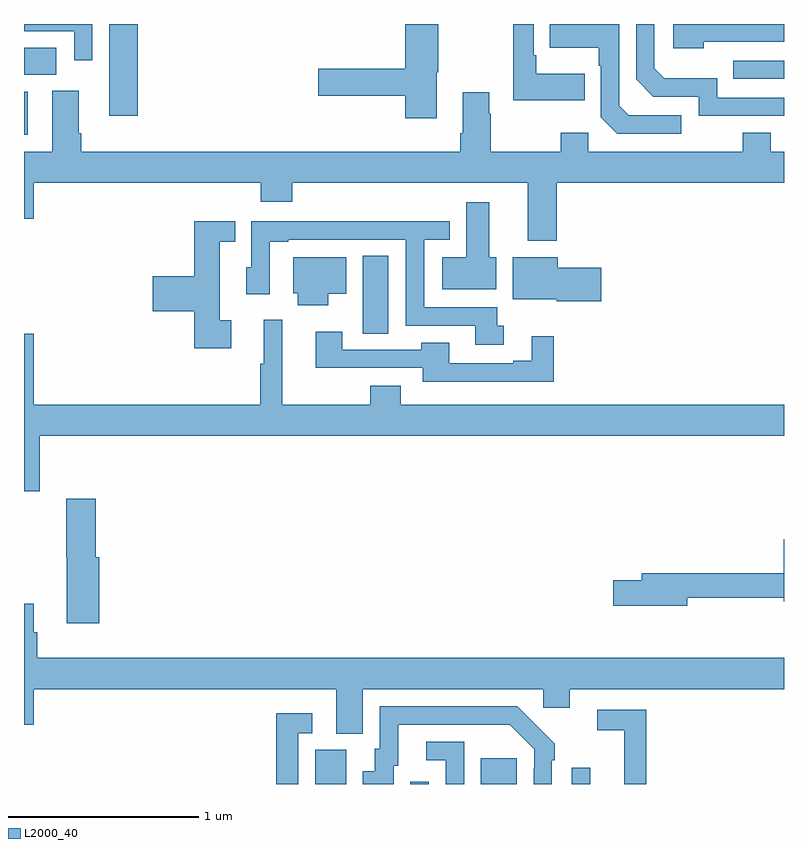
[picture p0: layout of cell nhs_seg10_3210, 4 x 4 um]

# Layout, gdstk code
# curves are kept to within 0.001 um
import gdstk
lib = gdstk.Library(unit=1e-6, precision=1e-09)
def R(c, l, rs):  # rectangles x0, y0, x1, y1
    for r in rs: c.add(gdstk.rectangle(r[:2], r[2:], *l))
def P(c, l, *ps):  # polygons
    for p in ps: c.add(gdstk.Polygon(p, *l))
L2000_40 = (2000, 40)

nhs_seg10_3210 = lib.new_cell('nhs_seg10_3210')
R(nhs_seg10_3210, L2000_40, [(286.532,1282.5,286.696,1282.68), (287.034,1282.5,287.13,1282.513), (287.405,1282.5,287.593,1282.636), (287.883,1282.5,287.979,1282.585), (286.784,1284.871,286.918,1285.28), (285,1285.917,285.019,1286.143), (285.449,1286.016,285.599,1286.5), (288.733,1286.211,289,1286.307), (285,1286.234,285.169,1286.374)])
P(nhs_seg10_3210, L2000_40, [(287.951,1286.239),(287.695,1286.239),(287.695,1286.335),(287.682,1286.335),(287.682,1286.5),(287.574,1286.5),(287.574,1286.099),(287.951,1286.099)],
  [(287.173,1286.247),(287.181,1286.247),(287.181,1286.5),(287.006,1286.5),(287.006,1286.264),(286.548,1286.264),(286.548,1286.122),(287.006,1286.122),(287.006,1286.004),(287.173,1286.004)],
  [(288.46,1286.019),(288.183,1286.019),(288.132,1286.07),(288.132,1286.5),(287.767,1286.5),(287.767,1286.375),(288.024,1286.375),(288.024,1286.279),(288.036,1286.279),(288.036,1286.01),(288.123,1285.923),(288.46,1285.923)],
  [(285.36,1286.5),(285,1286.5),(285,1286.462),(285.264,1286.462),(285.264,1286.31),(285.36,1286.31)],
  [(288.578,1286.406),(289,1286.406),(289,1286.5),(288.417,1286.5),(288.417,1286.372),(288.578,1286.372)],
  [(289,1286.112),(288.648,1286.112),(288.648,1286.215),(288.371,1286.215),(288.318,1286.268),(288.318,1286.5),(288.222,1286.5),(288.222,1286.208),(288.312,1286.118),(288.552,1286.118),(288.552,1286.016),(289,1286.016)],
  [(287.804,1285.664),(289,1285.664),(289,1285.828),(288.931,1285.828),(288.931,1285.927),(288.784,1285.927),(288.784,1285.828),(287.97,1285.828),(287.97,1285.927),(287.824,1285.927),(287.824,1285.828),(287.457,1285.828),(287.457,1286.027),(287.449,1286.027),(287.449,1286.14),(287.309,1286.14),(287.309,1285.924),(287.297,1285.924),(287.297,1285.828),(285.302,1285.828),(285.302,1285.924),(285.289,1285.924),(285.289,1286.149),(285.149,1286.149),(285.149,1285.828),(285,1285.828),(285,1285.476),(285.052,1285.476),(285.052,1285.664),(286.247,1285.664),(286.247,1285.565),(286.412,1285.565),(286.412,1285.664),(287.651,1285.664),(287.651,1285.359),(287.804,1285.359)],
  [(287.485,1285.273),(287.449,1285.273),(287.449,1285.561),(287.327,1285.561),(287.327,1285.273),(287.201,1285.273),(287.201,1285.103),(287.485,1285.103)],
  [(287.524,1284.911),(287.492,1284.911),(287.492,1285.008),(287.106,1285.008),(287.106,1285.365),(287.242,1285.365),(287.242,1285.463),(286.495,1285.463),(286.495,1285.461),(286.197,1285.461),(286.197,1285.221),(286.169,1285.221),(286.169,1285.077),(286.293,1285.077),(286.293,1285.353),(286.39,1285.353),(286.39,1285.365),(287.01,1285.365),(287.01,1284.912),(287.375,1284.912),(287.375,1284.813),(287.524,1284.813)],
  [(286.09,1284.942),(286.03,1284.942),(286.03,1285.353),(286.112,1285.353),(286.112,1285.463),(285.896,1285.463),(285.896,1285.172),(285.678,1285.172),(285.678,1284.989),(285.896,1284.989),(285.896,1284.794),(286.09,1284.794)],
  [(286.6,1285.079),(286.696,1285.079),(286.696,1285.273),(286.418,1285.273),(286.418,1285.083),(286.442,1285.083),(286.442,1285.019),(286.6,1285.019)],
  [(288.037,1285.218),(287.809,1285.218),(287.809,1285.273),(287.573,1285.273),(287.573,1285.052),(287.805,1285.052),(287.805,1285.04),(288.037,1285.04)],
  [(285.083,1284.332),(289,1284.332),(289,1284.496),(286.982,1284.496),(286.982,1284.595),(286.822,1284.595),(286.822,1284.496),(286.36,1284.496),(286.36,1284.943),(286.262,1284.943),(286.262,1284.711),(286.243,1284.711),(286.243,1284.496),(285.052,1284.496),(285.052,1284.871),(285,1284.871),(285,1284.042),(285.083,1284.042)],
  [(287.789,1284.856),(287.672,1284.856),(287.672,1284.727),(287.576,1284.727),(287.576,1284.714),(287.239,1284.714),(287.239,1284.823),(287.092,1284.823),(287.092,1284.786),(286.675,1284.786),(286.675,1284.88),(286.535,1284.88),(286.535,1284.69),(287.099,1284.69),(287.099,1284.618),(287.789,1284.618)],
  [(285.395,1283.694),(285.377,1283.694),(285.377,1284.001),(285.223,1284.001),(285.223,1283.694),(285.224,1283.694),(285.224,1283.346),(285.395,1283.346)],
  [(288.49,1283.481),(288.998,1283.481),(288.998,1283.462),(289,1283.462),(289,1283.788),(288.998,1283.788),(288.998,1283.609),(288.251,1283.609),(288.251,1283.573),(288.102,1283.573),(288.102,1283.438),(288.49,1283.438)],
  [(286.783,1283),(287.733,1283),(287.733,1282.902),(287.872,1282.902),(287.872,1283),(289,1283),(289,1283.164),(285.071,1283.164),(285.071,1283.298),(285.052,1283.298),(285.052,1283.449),(285,1283.449),(285,1282.812),(285.052,1282.812),(285.052,1283),(286.643,1283),(286.643,1282.765),(286.783,1282.765)],
  [(286.945,1282.596),(286.969,1282.596),(286.969,1282.812),(287.557,1282.812),(287.685,1282.683),(287.685,1282.583),(287.682,1282.583),(287.682,1282.5),(287.778,1282.5),(287.778,1282.625),(287.793,1282.625),(287.793,1282.713),(287.596,1282.908),(286.872,1282.908),(286.872,1282.686),(286.847,1282.686),(286.847,1282.567),(286.784,1282.567),(286.784,1282.5),(286.945,1282.5)],
  [(288.275,1282.89),(288.018,1282.89),(288.018,1282.782),(288.158,1282.782),(288.158,1282.5),(288.275,1282.5)],
  [(286.443,1282.767),(286.516,1282.767),(286.516,1282.873),(286.327,1282.873),(286.327,1282.5),(286.443,1282.5)],
  [(287.316,1282.722),(287.118,1282.722),(287.118,1282.626),(287.22,1282.626),(287.22,1282.5),(287.316,1282.5)])

lib.write_gds('nhs_seg10_3210.gds')
